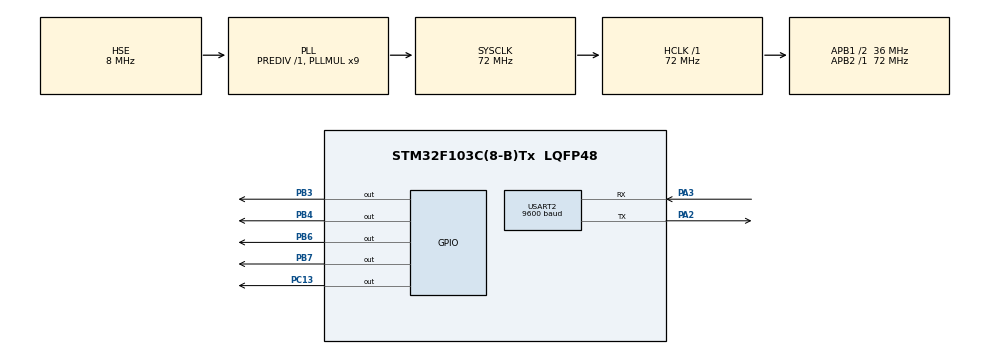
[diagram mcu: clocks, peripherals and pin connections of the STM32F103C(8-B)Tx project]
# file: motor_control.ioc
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Mcu.Family=STM32F1
Mcu.Name=STM32F103C(8-B)Tx
Mcu.Package=LQFP48
NVIC.PriorityGroup=NVIC_PRIORITYGROUP_4
NVIC.USART2_IRQn=true\:1\:0\:true\:false\:true\:true\:true
PA13.Mode=Serial_Wire
PA13.Signal=SYS_JTMS-SWDIO
PA14.Mode=Serial_Wire
PA14.Signal=SYS_JTCK-SWCLK
PA2.Mode=Asynchronous
PA2.Signal=USART2_TX
PA3.Mode=Asynchronous
PA3.Signal=USART2_RX
PB3.Signal=GPIO_Output
PB4.Signal=GPIO_Output
PB6.Signal=GPIO_Output
PB7.Signal=GPIO_Output
PC13-TAMPER-RTC.Signal=GPIO_Output
PD0-OSC_IN.Mode=HSE-External-Oscillator
PD0-OSC_IN.Signal=RCC_OSC_IN
PD1-OSC_OUT.Mode=HSE-External-Oscillator
PD1-OSC_OUT.Signal=RCC_OSC_OUT
ProjectManager.HeapSize=0x200
ProjectManager.StackSize=0x400
ProjectManager.TargetToolchain=MDK-ARM V5.27
RCC.AHBFreq_Value=72000000
RCC.APB1CLKDivider=RCC_HCLK_DIV2
RCC.APB1Freq_Value=36000000
RCC.APB1TimFreq_Value=72000000
RCC.APB2Freq_Value=72000000
RCC.APB2TimFreq_Value=72000000
RCC.HCLKFreq_Value=72000000
RCC.PLLMUL=RCC_PLL_MUL9
RCC.PLLSourceVirtual=RCC_PLLSOURCE_HSE
RCC.SYSCLKFreq_VALUE=72000000
RCC.SYSCLKSource=RCC_SYSCLKSOURCE_PLLCLK
RCC.USBFreq_Value=72000000
USART2.BaudRate=9600
USART2.VirtualMode=VM_ASYNC
board=custom

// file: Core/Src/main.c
/* USER CODE BEGIN Header */
/**
  ******************************************************************************
  * @file           : main.c
  * @brief          : Main program body
  ******************************************************************************
  * @attention
  *
  * <h2><center>&copy; Copyright (c) 2024 STMicroelectronics.
  * All rights reserved.</center></h2>
  *
  * This software component is licensed by ST under BSD 3-Clause license,
  * the "License"; You may not use this file except in compliance with the
  * License. You may obtain a copy of the License at:
  *                        opensource.org/licenses/BSD-3-Clause
  *
  ******************************************************************************
  */
/* USER CODE END Header */
#include "main.h"

UART_HandleTypeDef huart2;

/* USER CODE BEGIN PV */
uint8_t Rdata[15];
uint8_t Rdata_1[1];
int temp = 0;
size_t str_cnt = 0, mv_cnt = 0;
uint8_t motors_value[4];

uint8_t motor_a_angle[100];
uint8_t motor_b_angle[100];
uint8_t motor_a_dir[100];
uint8_t motor_b_dir[100];
uint32_t write_cnt = 0;
uint32_t read_cnt = 0;

/* USER CODE END PV */

void SystemClock_Config(void);
static void MX_GPIO_Init(void);
static void MX_USART2_UART_Init(void);
/* USER CODE BEGIN PFP */

void Stepper_a(int n, GPIO_PinState PinState, int delay);
void Stepper_b(int n, GPIO_PinState PinState, int delay);

/* USER CODE END PFP */

int main(void)
{

  /* MCU Configuration--------------------------------------------------------*/

  /* Reset of all peripherals, Initializes the Flash interface and the Systick. */
  HAL_Init();

  /* Configure the system clock */
  SystemClock_Config();

  /* Initialize all configured peripherals */
  MX_GPIO_Init();
  MX_USART2_UART_Init();

  /* Infinite loop */
  /* USER CODE BEGIN WHILE */
	HAL_GPIO_WritePin(GPIOB, GPIO_PIN_3, GPIO_PIN_RESET); //STEP Pin on the driver 1
	HAL_GPIO_WritePin(GPIOB, GPIO_PIN_7, GPIO_PIN_RESET); //STEP Pin on the driver 2

	HAL_UART_Receive_IT(&huart2, Rdata_1, 1);

  while (1)
  {
    /* USER CODE END WHILE */

    /* USER CODE BEGIN 3 */
		if(read_cnt < write_cnt)
		{

				int n = 0;
				if(motor_a_angle[read_cnt] > motor_b_angle[read_cnt])
						n = motor_a_angle[read_cnt];
				else
						n = motor_b_angle[read_cnt];

				for(int i=0; i<n; i++)
				{
						if(motor_a_angle[read_cnt] >= i)
								Stepper_a(1, motor_a_dir[read_cnt], 5);
						HAL_Delay(2);
						if(motor_b_angle[read_cnt] >= i)
								Stepper_b(1, motor_b_dir[read_cnt], 5);
				}
				if(read_cnt < 100-1)
					read_cnt++;
				else read_cnt = 0;
		}//motors move

  }//while(1)
}

void HAL_UART_RxCpltCallback(UART_HandleTypeDef *huart)
{
		strcat((char*)Rdata, (char*)Rdata_1);

		if(Rdata[0] == 'a' && strstr((char*) Rdata, "f")!= 0) //data okay
		{
				str_cnt = 0;
				mv_cnt = 0;
				motors_value[0] = 0; motors_value[1] = 0; motors_value[2] = 0; motors_value[3] = 0;
				while(Rdata[str_cnt] != 'f')
				{
						if(isalpha(Rdata[str_cnt]))
						{
								str_cnt++;

								while(isdigit(Rdata[str_cnt]))
								{
										motors_value[mv_cnt] = motors_value[mv_cnt]*10 + Rdata[str_cnt]-'0';
										str_cnt++;
								}
								mv_cnt++;
						}
				}//Rdata finished

				motor_a_angle[write_cnt] = motors_value[0];
				motor_a_dir[write_cnt]   = motors_value[1];
				motor_b_angle[write_cnt] = motors_value[2];
				motor_b_dir[write_cnt]   = motors_value[3];
				if(write_cnt < 100-1)
					write_cnt++;
				else write_cnt = 0;

				for(int i=0; i<15; i++) //clear Rdata
						Rdata[i] = 0;
			}//if data ready

		HAL_UART_Receive_IT(&huart2, Rdata_1, 1);
}

void Stepper_a(int n, GPIO_PinState PinState, int delay)
{
		//Direction
		HAL_GPIO_WritePin(GPIOB, GPIO_PIN_4, PinState);

		//Steps
		for(int i=0; i<n; i++)
		{
				HAL_GPIO_WritePin(GPIOB, GPIO_PIN_3, GPIO_PIN_SET);
				HAL_Delay(delay);
				HAL_GPIO_WritePin(GPIOB, GPIO_PIN_3, GPIO_PIN_RESET);
				HAL_Delay(delay);
		}
}

void Stepper_b(int n, GPIO_PinState PinState, int delay)
{
		//Direction
		HAL_GPIO_WritePin(GPIOB, GPIO_PIN_6, PinState);

		//Steps
		for(int i=0; i<n; i++)
		{
				HAL_GPIO_WritePin(GPIOB, GPIO_PIN_7, GPIO_PIN_SET);
				HAL_Delay(delay);
				HAL_GPIO_WritePin(GPIOB, GPIO_PIN_7, GPIO_PIN_RESET);
				HAL_Delay(delay);
		}
}

/* USER CODE END 3 */

void SystemClock_Config(void)
{
  RCC_OscInitTypeDef RCC_OscInitStruct = {0};
  RCC_ClkInitTypeDef RCC_ClkInitStruct = {0};

  /** Initializes the RCC Oscillators according to the specified parameters
  * in the RCC_OscInitTypeDef structure.
  */
  RCC_OscInitStruct.OscillatorType = RCC_OSCILLATORTYPE_HSE;
  RCC_OscInitStruct.HSEState = RCC_HSE_ON;
  RCC_OscInitStruct.HSEPredivValue = RCC_HSE_PREDIV_DIV1;
  RCC_OscInitStruct.HSIState = RCC_HSI_ON;
  RCC_OscInitStruct.PLL.PLLState = RCC_PLL_ON;
  RCC_OscInitStruct.PLL.PLLSource = RCC_PLLSOURCE_HSE;
  RCC_OscInitStruct.PLL.PLLMUL = RCC_PLL_MUL9;
  if (HAL_RCC_OscConfig(&RCC_OscInitStruct) != HAL_OK)
  {
    Error_Handler();
  }
  /** Initializes the CPU, AHB and APB buses clocks
  */
  RCC_ClkInitStruct.ClockType = RCC_CLOCKTYPE_HCLK|RCC_CLOCKTYPE_SYSCLK
                              |RCC_CLOCKTYPE_PCLK1|RCC_CLOCKTYPE_PCLK2;
  RCC_ClkInitStruct.SYSCLKSource = RCC_SYSCLKSOURCE_PLLCLK;
  RCC_ClkInitStruct.AHBCLKDivider = RCC_SYSCLK_DIV1;
  RCC_ClkInitStruct.APB1CLKDivider = RCC_HCLK_DIV2;
  RCC_ClkInitStruct.APB2CLKDivider = RCC_HCLK_DIV1;

  if (HAL_RCC_ClockConfig(&RCC_ClkInitStruct, FLASH_LATENCY_2) != HAL_OK)
  {
    Error_Handler();
  }
}

static void MX_USART2_UART_Init(void)
{

  huart2.Instance = USART2;
  huart2.Init.BaudRate = 9600;
  huart2.Init.WordLength = UART_WORDLENGTH_8B;
  huart2.Init.StopBits = UART_STOPBITS_1;
  huart2.Init.Parity = UART_PARITY_NONE;
  huart2.Init.Mode = UART_MODE_TX_RX;
  huart2.Init.HwFlowCtl = UART_HWCONTROL_NONE;
  huart2.Init.OverSampling = UART_OVERSAMPLING_16;
  if (HAL_UART_Init(&huart2) != HAL_OK)
  {
    Error_Handler();
  }

}

static void MX_GPIO_Init(void)
{
  GPIO_InitTypeDef GPIO_InitStruct = {0};

  /* GPIO Ports Clock Enable */
  __HAL_RCC_GPIOC_CLK_ENABLE();
  __HAL_RCC_GPIOD_CLK_ENABLE();
  __HAL_RCC_GPIOA_CLK_ENABLE();
  __HAL_RCC_GPIOB_CLK_ENABLE();

  /*Configure GPIO pin Output Level */
  HAL_GPIO_WritePin(GPIOC, GPIO_PIN_13, GPIO_PIN_RESET);

  /*Configure GPIO pin Output Level */
  HAL_GPIO_WritePin(GPIOB, GPIO_PIN_3|GPIO_PIN_4|GPIO_PIN_6|GPIO_PIN_7, GPIO_PIN_RESET);

  /*Configure GPIO pin : PC13 */
  GPIO_InitStruct.Pin = GPIO_PIN_13;
  GPIO_InitStruct.Mode = GPIO_MODE_OUTPUT_PP;
  GPIO_InitStruct.Pull = GPIO_NOPULL;
  GPIO_InitStruct.Speed = GPIO_SPEED_FREQ_LOW;
  HAL_GPIO_Init(GPIOC, &GPIO_InitStruct);

  /*Configure GPIO pins : PB3 PB4 PB6 PB7 */
  GPIO_InitStruct.Pin = GPIO_PIN_3|GPIO_PIN_4|GPIO_PIN_6|GPIO_PIN_7;
  GPIO_InitStruct.Mode = GPIO_MODE_OUTPUT_PP;
  GPIO_InitStruct.Pull = GPIO_NOPULL;
  GPIO_InitStruct.Speed = GPIO_SPEED_FREQ_LOW;
  HAL_GPIO_Init(GPIOB, &GPIO_InitStruct);

}

void Error_Handler(void)
{
}

/************************ (C) COPYRIGHT STMicroelectronics *****END OF FILE****/
